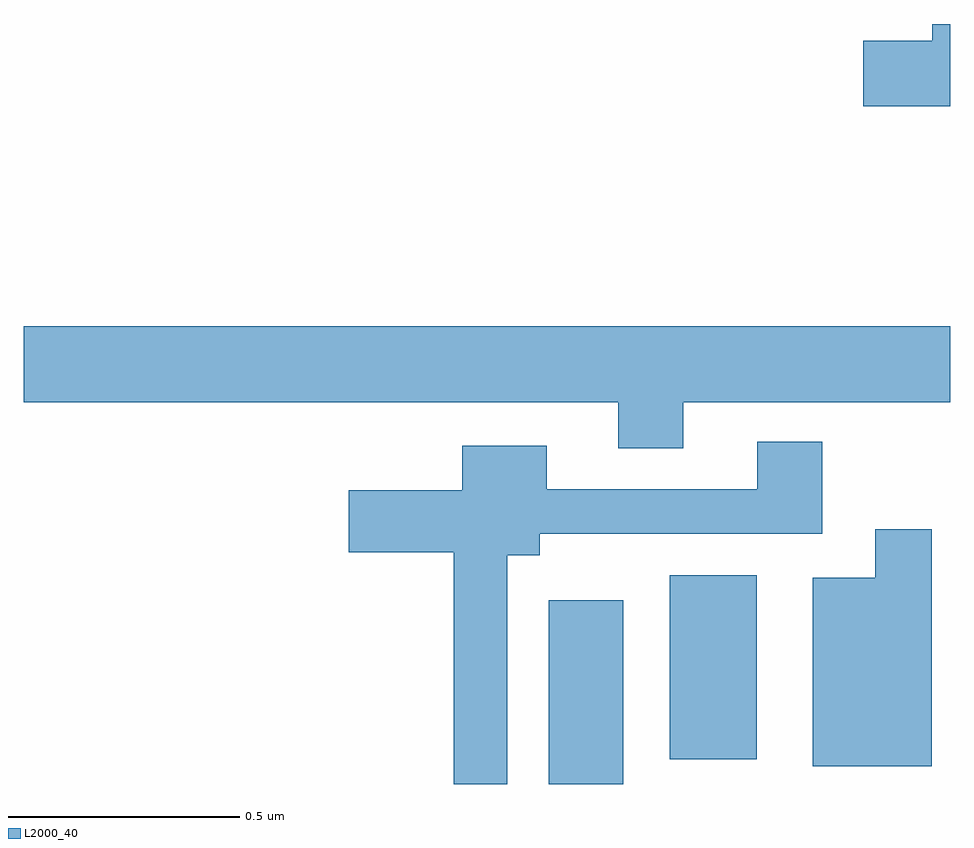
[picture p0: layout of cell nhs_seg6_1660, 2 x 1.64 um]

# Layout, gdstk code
import gdstk
lib = gdstk.Library(unit=1e-6, precision=1e-09)
def R(c, l, rs):  # rectangles x0, y0, x1, y1
    for r in rs: c.add(gdstk.rectangle(r[:2], r[2:], *l))
def P(c, l, *ps):  # polygons
    for p in ps: c.add(gdstk.Polygon(p, *l))
L2000_40 = (2000, 40)

nhs_seg6_1660 = lib.new_cell('nhs_seg6_1660')
R(nhs_seg6_1660, L2000_40, [(133.133,958.5,133.294,958.897), (133.394,958.553,133.582,958.951)])
P(nhs_seg6_1660, L2000_40, [(134,960.14),(133.961,960.14),(133.961,960.104),(133.812,960.104),(133.812,959.962),(134,959.962)],
  [(133.423,959.324),(134,959.324),(134,959.488),(132,959.488),(132,959.324),(133.283,959.324),(133.283,959.225),(133.423,959.225)],
  [(133.044,958.994),(133.114,958.994),(133.114,959.04),(133.723,959.04),(133.723,959.239),(133.583,959.239),(133.583,959.136),(133.129,959.136),(133.129,959.23),(132.947,959.23),(132.947,959.134),(132.702,959.134),(132.702,959),(132.928,959),(132.928,958.5),(133.044,958.5)],
  [(133.96,959.05),(133.838,959.05),(133.838,958.945),(133.703,958.945),(133.703,958.538),(133.96,958.538)])

lib.write_gds('nhs_seg6_1660.gds')
